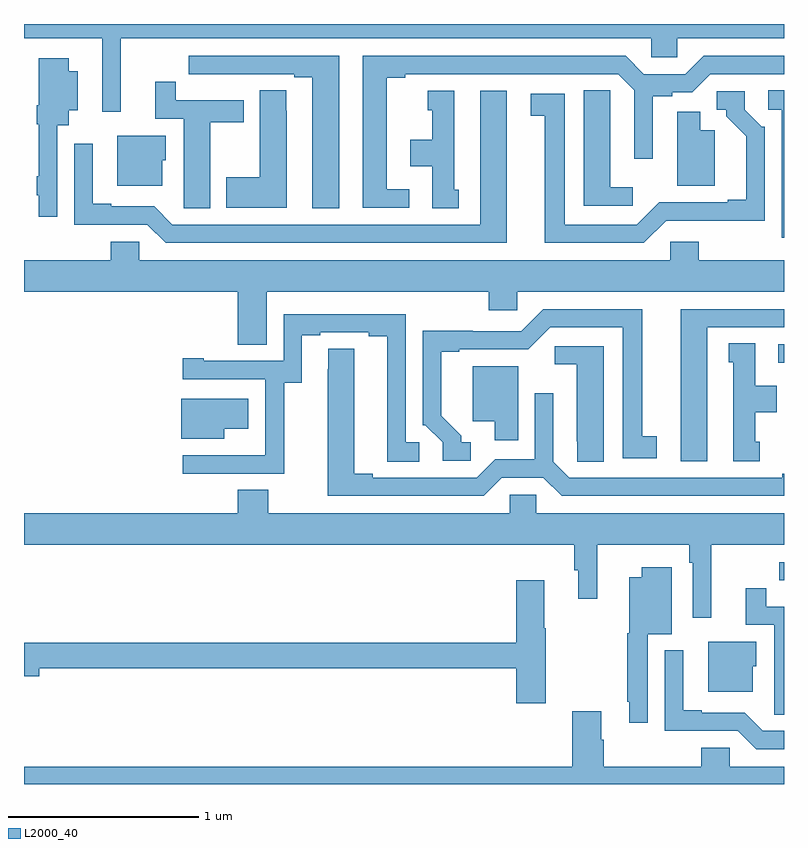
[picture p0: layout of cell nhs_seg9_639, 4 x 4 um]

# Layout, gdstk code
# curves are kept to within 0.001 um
import gdstk
lib = gdstk.Library(unit=1e-6, precision=1e-09)
def R(c, l, rs):  # rectangles x0, y0, x1, y1
    for r in rs: c.add(gdstk.rectangle(r[:2], r[2:], *l))
def P(c, l, *ps):  # polygons
    for p in ps: c.add(gdstk.Polygon(p, *l))
L2000_40 = (2000, 40)

nhs_seg9_639 = lib.new_cell('nhs_seg9_639')
R(nhs_seg9_639, L2000_40, [(146.976,1189.572,147,1189.668), (146.97,1190.718,147,1190.814)])
P(nhs_seg9_639, L2000_40, [(143.51,1192.424),(146.301,1192.424),(146.301,1192.326),(146.439,1192.326),(146.439,1192.424),(147,1192.424),(147,1192.5),(143,1192.5),(143,1192.424),(143.412,1192.424),(143.412,1192.038),(143.51,1192.038)],
  [(144.658,1192.332),(143.868,1192.332),(143.868,1192.236),(143.98,1192.236),(143.98,1192.235),(144.146,1192.235),(144.146,1192.236),(144.422,1192.236),(144.422,1192.221),(144.518,1192.221),(144.518,1191.529),(144.658,1191.529)],
  [(145.027,1191.63),(144.91,1191.63),(144.91,1192.216),(145.006,1192.216),(145.006,1192.236),(146.127,1192.236),(146.211,1192.152),(146.211,1191.792),(146.308,1191.792),(146.308,1192.12),(146.412,1192.12),(146.412,1192.14),(146.517,1192.14),(146.613,1192.236),(147,1192.236),(147,1192.332),(146.577,1192.332),(146.481,1192.236),(146.263,1192.236),(146.167,1192.332),(144.782,1192.332),(144.782,1191.534),(145.027,1191.534)],
  [(143.175,1191.968),(143.236,1191.968),(143.236,1192.046),(143.284,1192.046),(143.284,1192.252),(143.236,1192.252),(143.236,1192.321),(143.078,1192.321),(143.078,1192.072),(143.067,1192.072),(143.067,1191.972),(143.077,1191.972),(143.077,1191.698),(143.067,1191.698),(143.067,1191.598),(143.078,1191.598),(143.078,1191.486),(143.175,1191.486)],
  [(143.98,1191.982),(144.157,1191.982),(144.157,1192.098),(143.798,1192.098),(143.798,1192.195),(143.69,1192.195),(143.69,1192.002),(143.84,1192.002),(143.84,1191.64),(143.841,1191.64),(143.841,1191.529),(143.98,1191.529)],
  [(147,1192.151),(146.916,1192.151),(146.916,1192.05),(146.988,1192.05),(146.988,1191.375),(147,1191.375)],
  [(146.203,1191.64),(146.086,1191.64),(146.086,1192.043),(146.085,1192.043),(146.085,1192.151),(145.946,1192.151),(145.946,1191.543),(146.203,1191.543)],
  [(144.382,1192.043),(144.381,1192.043),(144.381,1192.151),(144.242,1192.151),(144.242,1191.693),(144.065,1191.693),(144.065,1191.533),(144.382,1191.533)],
  [(145.288,1191.627),(145.264,1191.627),(145.264,1192.15),(145.124,1192.15),(145.124,1192.047),(145.148,1192.047),(145.148,1191.892),(145.034,1191.892),(145.034,1191.752),(145.148,1191.752),(145.148,1191.529),(145.288,1191.529)],
  [(145.54,1192.15),(145.4,1192.15),(145.4,1191.444),(143.781,1191.444),(143.685,1191.54),(143.458,1191.54),(143.458,1191.553),(143.362,1191.553),(143.362,1191.871),(143.265,1191.871),(143.265,1191.444),(143.649,1191.444),(143.745,1191.348),(145.54,1191.348)],
  [(146.379,1191.465),(146.898,1191.464),(146.898,1191.96),(146.883,1191.96),(146.793,1192.05),(146.793,1192.146),(146.646,1192.146),(146.646,1192.05),(146.696,1192.05),(146.696,1192.015),(146.801,1191.91),(146.801,1191.574),(146.705,1191.574),(146.705,1191.561),(146.343,1191.561),(146.226,1191.444),(145.846,1191.444),(145.846,1192.134),(145.668,1192.134),(145.668,1192.018),(145.742,1192.018),(145.742,1191.348),(146.262,1191.348)],
  [(146.635,1191.94),(146.56,1191.94),(146.56,1192.039),(146.438,1192.039),(146.438,1191.65),(146.635,1191.65)],
  [(143.728,1191.783),(143.746,1191.783),(143.746,1191.913),(143.492,1191.913),(143.492,1191.65),(143.728,1191.65)],
  [(144.277,1191.092),(145.445,1191.092),(145.445,1190.994),(145.596,1190.994),(145.596,1191.092),(147,1191.092),(147,1191.256),(146.552,1191.256),(146.552,1191.354),(146.4,1191.354),(146.4,1191.256),(143.607,1191.256),(143.607,1191.354),(143.456,1191.354),(143.456,1191.256),(143,1191.256),(143,1191.092),(144.125,1191.092),(144.125,1190.812),(144.277,1190.812)],
  [(145.351,1190.298),(145.3,1190.298),(145.3,1190.333),(145.195,1190.438),(145.195,1190.775),(145.291,1190.775),(145.291,1190.787),(145.653,1190.787),(145.77,1190.904),(146.15,1190.904),(146.15,1190.214),(146.329,1190.214),(146.329,1190.33),(146.254,1190.33),(146.254,1191),(145.734,1191),(145.617,1190.883),(145.361,1190.883),(145.361,1190.885),(145.098,1190.885),(145.098,1190.388),(145.113,1190.388),(145.203,1190.298),(145.203,1190.202),(145.351,1190.202)],
  [(146.596,1190.904),(147,1190.904),(147,1191),(146.456,1191),(146.456,1190.199),(146.596,1190.199)],
  [(144.369,1190.611),(144.463,1190.611),(144.463,1190.862),(144.559,1190.862),(144.559,1190.877),(144.815,1190.877),(144.815,1190.857),(144.911,1190.857),(144.911,1190.197),(145.081,1190.197),(145.081,1190.298),(145.008,1190.298),(145.008,1190.973),(144.366,1190.973),(144.366,1190.727),(143.947,1190.727),(143.947,1190.74),(143.835,1190.74),(143.835,1190.631),(144.27,1190.631),(144.27,1190.23),(144.269,1190.23),(144.269,1190.229),(143.835,1190.229),(143.835,1190.133),(144.369,1190.133)],
  [(146.872,1190.301),(146.848,1190.301),(146.848,1190.456),(146.962,1190.456),(146.962,1190.596),(146.848,1190.596),(146.848,1190.819),(146.708,1190.819),(146.708,1190.721),(146.732,1190.721),(146.732,1190.199),(146.872,1190.199)],
  [(146.05,1190.805),(145.794,1190.805),(145.794,1190.708),(145.91,1190.708),(145.91,1190.305),(145.911,1190.305),(145.911,1190.197),(146.05,1190.197)],
  [(145.515,1190.112),(145.733,1190.112),(145.829,1190.016),(147,1190.016),(147,1190.132),(146.99,1190.132),(146.99,1190.112),(145.869,1190.112),(145.785,1190.196),(145.785,1190.557),(145.689,1190.557),(145.689,1190.208),(145.479,1190.208),(145.383,1190.112),(144.835,1190.112),(144.835,1190.132),(144.739,1190.132),(144.739,1190.792),(144.6,1190.792),(144.599,1190.016),(145.419,1190.016)],
  [(145.6,1190.698),(145.361,1190.698),(145.361,1190.408),(145.478,1190.408),(145.478,1190.31),(145.6,1190.31)],
  [(144.055,1190.369),(144.181,1190.369),(144.181,1190.527),(143.828,1190.527),(143.828,1190.318),(144.055,1190.318)],
  [(146.618,1189.76),(147,1189.76),(147,1189.924),(145.695,1189.924),(145.695,1190.022),(145.557,1190.022),(145.557,1189.924),(144.285,1189.924),(144.285,1190.048),(144.125,1190.048),(144.125,1189.924),(143,1189.924),(143,1189.76),(145.897,1189.76),(145.897,1189.626),(145.916,1189.626),(145.916,1189.476),(146.016,1189.476),(146.016,1189.76),(146.5,1189.76),(146.5,1189.664),(146.52,1189.664),(146.52,1189.374),(146.618,1189.374)],
  [(146.283,1189.289),(146.41,1189.289),(146.41,1189.642),(146.252,1189.642),(146.252,1189.588),(146.186,1189.588),(146.186,1189.293),(146.175,1189.293),(146.175,1188.934),(146.186,1188.934),(146.186,1188.822),(146.283,1188.822)],
  [(145.746,1189.321),(145.738,1189.321),(145.738,1189.573),(145.592,1189.573),(145.592,1189.244),(143,1189.244),(143,1189.066),(143.08,1189.066),(143.08,1189.108),(145.592,1189.108),(145.592,1188.924),(145.746,1188.924)],
  [(147,1189.434),(146.906,1189.434),(146.906,1189.531),(146.798,1189.531),(146.798,1189.338),(146.948,1189.338),(146.948,1188.976),(146.949,1188.976),(146.949,1188.865),(147,1188.865)],
  [(146.836,1189.119),(146.854,1189.119),(146.854,1189.249),(146.6,1189.249),(146.6,1188.986),(146.836,1188.986)],
  [(147,1188.78),(146.889,1188.78),(146.793,1188.876),(146.566,1188.876),(146.566,1188.889),(146.47,1188.889),(146.47,1189.204),(146.373,1189.204),(146.373,1188.78),(146.757,1188.78),(146.853,1188.684),(147,1188.684)],
  [(147,1188.592),(146.715,1188.592),(146.715,1188.69),(146.564,1188.69),(146.564,1188.592),(146.051,1188.592),(146.051,1188.734),(146.038,1188.734),(146.038,1188.883),(145.886,1188.883),(145.886,1188.592),(143,1188.592),(143,1188.5),(147,1188.5)])

lib.write_gds('nhs_seg9_639.gds')
